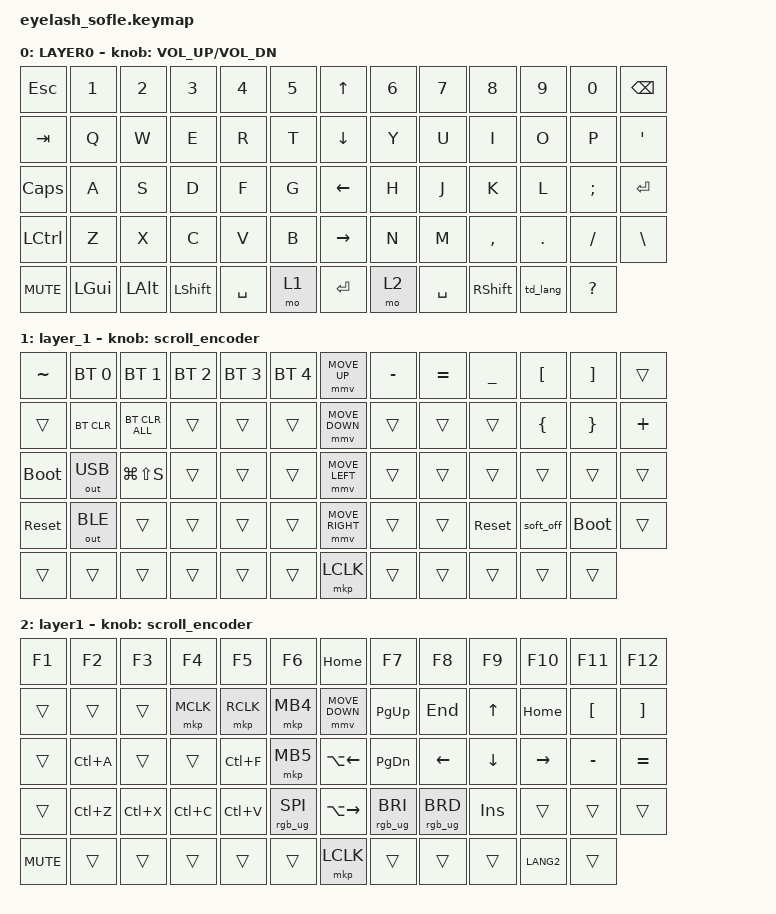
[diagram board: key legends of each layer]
#define ZMK_POINTING_DEFAULT_MOVE_VAL 1200  // 600
#define ZMK_POINTING_DEFAULT_SCRL_VAL 25   // 10

#include <input/processors.dtsi>
#include <zephyr/dt-bindings/input/input-event-codes.h>
#include <behaviors.dtsi>
#include <dt-bindings/zmk/bt.h>
#include <dt-bindings/zmk/keys.h>
#include <dt-bindings/zmk/outputs.h>
#include <dt-bindings/zmk/pointing.h>
#include <dt-bindings/zmk/rgb.h>

&mmv_input_listener { input-processors = <&zip_xy_scaler 2 1>; };

&msc_input_listener { input-processors = <&zip_scroll_scaler 2 1>; };

&msc {
    acceleration-exponent = <1>;      // 0
    time-to-max-speed-ms = <100>;       // 300
    delay-ms = <0>;                   // 0
};

&mmv {
    time-to-max-speed-ms = <500>;
    acceleration-exponent = <1>;
    trigger-period-ms = <16>;
};

/ {
    scroll_encoder: scroll_encoder {
        compatible = "zmk,behavior-sensor-rotate";
        #sensor-binding-cells = <0>;
        bindings = <&msc SCRL_DOWN>, <&msc SCRL_UP>;

        tap-ms = <100>;
    };

    td_lang: td_lang {
        compatible = "zmk,behavior-tap-dance";
        label = "TD_LANG";
        #binding-cells = <0>;
        bindings = <&kp LANGUAGE_1>, <&kp K_CONTEXT_MENU>;
    };

    behaviors {
    };

    combos {
        compatible = "zmk,combos";

        delete {
            bindings = <&kp DELETE>;
            key-positions = <40 41>;
        };
    };

    keymap {
        compatible = "zmk,keymap";

        qwerty {
            bindings = <
&kp ESC           &kp N1        &kp N2        &kp N3          &kp N4     &kp N5    &kp UP_ARROW     &kp N6  &kp N7     &kp N8           &kp N9    &kp N0        &kp BACKSPACE
&kp TAB           &kp Q         &kp W         &kp E           &kp R      &kp T     &kp DOWN_ARROW   &kp Y   &kp U      &kp I            &kp O     &kp P         &kp SQT
&kp CAPS          &kp A         &kp S         &kp D           &kp F      &kp G     &kp LEFT_ARROW   &kp H   &kp J      &kp K            &kp L     &kp SEMI      &kp ENTER
&kp LEFT_CONTROL  &kp Z         &kp X         &kp C           &kp V      &kp B     &kp RIGHT_ARROW  &kp N   &kp M      &kp COMMA        &kp DOT   &kp FSLH      &kp BACKSLASH
&kp C_MUTE        &kp LEFT_GUI  &kp LEFT_ALT  &kp LEFT_SHIFT  &kp SPACE  &mo 1     &kp ENTER        &mo 2   &kp SPACE  &kp RIGHT_SHIFT  &td_lang  &kp QUESTION
            >;

            sensor-bindings = <&inc_dec_kp C_VOLUME_UP C_VOL_DN>;
            display-name = "LAYER0";
        };

        layer_1 {
            bindings = <
&kp TILDE    &bt BT_SEL 0  &bt BT_SEL 1    &bt BT_SEL 2  &bt BT_SEL 3  &bt BT_SEL 4    &mmv MOVE_UP     &kp MINUS  &kp EQUAL  &kp UNDERSCORE  &kp LEFT_BRACKET  &kp RIGHT_BRACKET  &trans
&trans       &bt BT_CLR    &bt BT_CLR_ALL  &trans        &trans        &trans          &mmv MOVE_DOWN   &trans     &trans     &trans          &kp LEFT_BRACE    &kp RIGHT_BRACE    &kp PLUS
&bootloader  &out OUT_USB  &kp LG(LS(S))   &trans        &trans        &trans          &mmv MOVE_LEFT   &trans     &trans     &trans          &trans            &trans             &trans
&sys_reset   &out OUT_BLE  &trans          &trans        &trans        &trans          &mmv MOVE_RIGHT  &trans     &trans     &sys_reset      &soft_off         &bootloader        &trans
&trans       &trans        &trans          &trans        &trans        &trans          &mkp LCLK        &trans     &trans     &trans          &trans            &trans
            >;

            sensor-bindings = <&scroll_encoder>;
        };

        layer_2 {
            bindings = <
&kp F1      &kp F2     &kp F3     &kp F4     &kp F5     &kp F6             &kp HOME             &kp F7           &kp F8           &kp F9      &kp F10    &kp F11           &kp F12
&trans      &trans     &trans     &mkp MCLK  &mkp RCLK  &mkp MB4           &mmv MOVE_DOWN       &kp PG_UP        &kp END          &kp UP      &kp HOME   &kp LEFT_BRACKET  &kp RIGHT_BRACKET
&trans      &kp LC(A)  &trans     &trans     &kp LC(F)  &mkp MB5           &kp LA(LEFT_ARROW)   &kp PG_DN        &kp LEFT         &kp DOWN    &kp RIGHT  &kp MINUS         &kp EQUAL
&trans      &kp LC(Z)  &kp LC(X)  &kp LC(C)  &kp LC(V)  &rgb_ug RGB_SPI    &kp LA(RIGHT_ARROW)  &rgb_ug RGB_BRI  &rgb_ug RGB_BRD  &kp INSERT  &trans     &trans            &trans
&kp C_MUTE  &trans     &trans     &trans     &trans     &trans             &mkp LCLK            &trans           &trans           &trans      &kp LANG2  &trans
            >;

            display-name = "layer1";
            sensor-bindings = <&scroll_encoder>;
        };
    };
};
